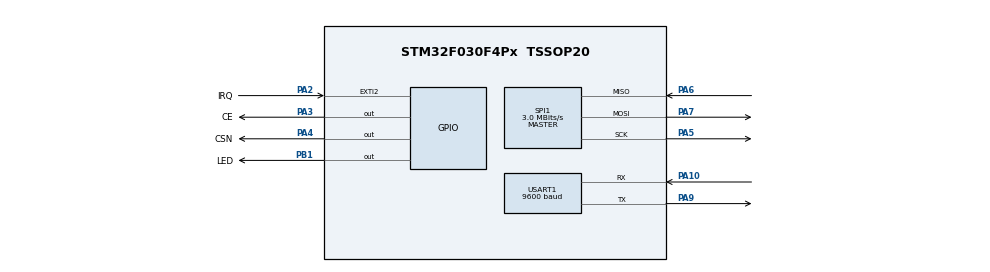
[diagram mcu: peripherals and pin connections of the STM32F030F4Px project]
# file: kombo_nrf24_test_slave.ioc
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IWDG.Prescaler=IWDG_PRESCALER_32
Mcu.Family=STM32F0
Mcu.Name=STM32F030F4Px
Mcu.Package=TSSOP20
NVIC.EXTI2_3_IRQn=true\:0\:0\:false\:false\:true\:true\:true
NVIC.TIM1_CC_IRQn=true\:0\:0\:false\:false\:true\:true\:true
PA10.Mode=Asynchronous
PA10.Signal=USART1_RX
PA13.Mode=Serial_Wire
PA13.Signal=SYS_SWDIO
PA14.Mode=Serial_Wire
PA14.Signal=SYS_SWCLK
PA2.GPIO_Label=IRQ
PA2.Signal=GPXTI2
PA3.GPIO_Label=CE
PA3.Signal=GPIO_Output
PA4.GPIO_Label=CSN
PA4.Signal=GPIO_Output
PA5.Mode=Full_Duplex_Master
PA5.Signal=SPI1_SCK
PA6.Mode=Full_Duplex_Master
PA6.Signal=SPI1_MISO
PA7.Mode=Full_Duplex_Master
PA7.Signal=SPI1_MOSI
PA9.Mode=Asynchronous
PA9.Signal=USART1_TX
PB1.GPIO_Label=LED
PB1.Signal=GPIO_Output
ProjectManager.HeapSize=0x200
ProjectManager.StackSize=0x400
ProjectManager.TargetToolchain=MDK-ARM V5.32
RCC.AHBFreq_Value=48000000
RCC.APB1Freq_Value=48000000
RCC.APB1TimFreq_Value=48000000
RCC.HCLKFreq_Value=48000000
RCC.PLLMUL=RCC_PLL_MUL12
RCC.SYSCLKFreq_VALUE=48000000
RCC.SYSCLKSource=RCC_SYSCLKSOURCE_PLLCLK
SPI1.BaudRatePrescaler=SPI_BAUDRATEPRESCALER_16
SPI1.CalculateBaudRate=3.0 MBits/s
SPI1.DataSize=SPI_DATASIZE_8BIT
SPI1.Direction=SPI_DIRECTION_2LINES
SPI1.Mode=SPI_MODE_MASTER
SPI1.VirtualType=VM_MASTER
TIM1.Period=48
USART1.BaudRate=9600
USART1.VirtualMode-Asynchronous=VM_ASYNC
VP_IWDG_VS_IWDG.Mode=IWDG_Activate
VP_TIM1_VS_ClockSourceINT.Mode=Internal
board=custom

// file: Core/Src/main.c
/* USER CODE BEGIN Header */
/*
* main.c
* тестовый пример ведомого устройства с модулем NRF24L01.
* Проект "КомБО" (Открытые системы беспроводной коммуникации)
*
* Микроконтроллер: stm32f030f4p6
*
* Подключение периферии:
* NRF24L01		STM32
* CE					PA3(9)
* CSN					PA4(10)
* SCK					PA5(11)
* MOSI				PA7(13)
* MISO				PA6(12)
* IRQ					PA2(8)
*
* USART
* TX					PA9(17)
* RX					PA10(18)
*
* LED					PB1(14)
*
*   Краткое описание работы:
* При включении питания и сбросе в порт выдаются значения регистров радиомодуля
* В процессе работы устройство ожидает запроса от ведущего и получив его отправляет
* в ответ свой адрес и значение счетчика запросов (от 0 до 255), а также сигнализирует
* об этом событии моргая светодиодом и выдавая сообщение в последовательный порт.
*
* Примечания:
* - Проект сгенерирован в STM32CubeMX, основные настройки и инициализация периферии происходит автоматически
*   по настройкам проекта
* - Для МК stm32f030f4p6 - без перемычки на BOOT (1) - старт в режиме загрузчика, можно подключиться
*   по USART и через SWD, с перемычкой - нормальная загрузка, можно подключиться только через SWD
*
* Автор: Мелехин В.Н. (MelexinVN)
*/
/* USER CODE END Header */
#include "main.h"			//подключаем основной заголовочный файл

/* USER CODE BEGIN PV */
//объявляем переменные и массивы
char str[STRING_SIZE] = {0};						//буфер для вывода в порт
uint8_t counter = 0;										//счетчик запросов 0-255
//внешние переменные и массивы
extern volatile uint8_t f_rx, f_tx;			//флаги приема и передачи
extern uint8_t tx_buf[TX_PLOAD_WIDTH];	//буфер передачи
extern uint8_t rx_buf[TX_PLOAD_WIDTH];	//буфер приема
/* USER CODE END PV */

void SystemClock_Config(void);
static void MX_GPIO_Init(void);
static void MX_IWDG_Init(void);
static void MX_SPI1_Init(void);
static void MX_USART1_UART_Init(void);
static void MX_TIM1_Init(void);

/* USER CODE BEGIN 0 */
//Процедура вывода в порт данных из регистров радиомодуля
void nrf_info_print(void)
{
	uint8_t buf[TX_ADR_WIDTH] = {0};				//буфер для чтения адресов модуля
	uint8_t dt_reg = 0;											//переменная для чтения значения регистра

	dt_reg = nrf24_read_reg(CONFIG);							//читаем регистр CONFIG
	sprintf(str, "CONFIG: 0x%02X\r\n", dt_reg);		//
	usart_print(str);															//выводим данные в порт
	dt_reg = nrf24_read_reg(EN_AA);								//читаем регистр EN_AA
	sprintf(str, "EN_AA: 0x%02X\r\n", dt_reg);		//
	usart_print(str);															//выводим данные в порт
	dt_reg = nrf24_read_reg(EN_RXADDR);						//читаем регистр EN_RXADDR
	sprintf(str, "EN_RXADDR: 0x%02X\r\n", dt_reg);//
	usart_print(str);															//выводим данные в порт
	dt_reg = nrf24_read_reg(STATUS);							//читаем регистр STATUS
	sprintf(str, "STATUS: 0x%02X\r\n", dt_reg);		//
	usart_print(str);															//выводим данные в порт
	dt_reg = nrf24_read_reg(RF_SETUP);						//читаем регистр RF_SETUP
	sprintf(str, "RF_SETUP: 0x%02X\r\n", dt_reg);	//
	usart_print(str);															//выводим данные в порт
	nrf24_read_buf(TX_ADDR,buf,3);								//читаем буфер TX_ADDR
	sprintf(str, "TX_ADDR: 0x%02X, 0x%02X, 0x%02X\r\n", buf[0], buf[1], buf[2]);
	usart_print(str);															//выводим данные в порт
	nrf24_read_buf(RX_ADDR_P1,buf,3);							//читаем буфер RX_ADDR_P1
	sprintf(str, "RX_ADDR: 0x%02X, 0x%02X, 0x%02X\r\n", buf[0], buf[1], buf[2]);
	usart_print(str);															//выводим данные в порт
}

//Процедура моргания светодиодом
void blink_led(uint8_t blink_counter)
{
	while (blink_counter)		//пока счетчик не равен 0
	{
		LED_ON();							//включаем светодиод
		LL_mDelay(50);				//ждем
		LED_OFF();						//выключаем светодиод
		LL_mDelay(50);				//ждем
		blink_counter--;			//декрементируем счетчик
	}
}

//Процедура приема радиомодуля
void nrf24l01_receive(void)
{
	if(f_rx)	//если флаг приема поднят (флаг поднимается по внешнему прерыванию от радиомодуля)
	{
		if (rx_buf[0] == OUR_ADDR)	//если первый принятый байт совпадает с адресом устройства
		{
			/*ДЕЙСТВИЯ ПО ЗАПРОСУ ВЕДУЩЕГО УСТРОЙСТВА*/

			//тут можно прописать действия ведомого устройства при получении адресованного ему запроса
			//в данном примере мы формируем и отправляем ответ на запрос, а также сигнализируем об этом событии
			//ответ содержит адрес устройства и байт данных, но может содержать другую информацию размером до 32 байт

			tx_buf[0] = OUR_ADDR;	//записываем в первый байт буфера адрес
			tx_buf[1] = counter;	//записываем во второй байт буфера значение счетчика
			nrf24_send(tx_buf);		//отправляем посылку в эфир
			blink_led(2);					//моргаем светодиодом
			sprintf(str,"respond #%d\r\n", counter);	//формируем строку для вывода в порт
			usart_print(str);			//отправляем строку в порт
			counter++;						//инкрементируем счетчика
		}
		f_rx = 0;								//опускаем флаг приема
	}
}
/* USER CODE END 0 */

int main(void)
{

  /* MCU Configuration--------------------------------------------------------*/

  /* Reset of all peripherals, Initializes the Flash interface and the Systick. */

  LL_APB1_GRP2_EnableClock(LL_APB1_GRP2_PERIPH_SYSCFG);
  LL_APB1_GRP1_EnableClock(LL_APB1_GRP1_PERIPH_PWR);

  /* System interrupt init*/
  /* SysTick_IRQn interrupt configuration */
  NVIC_SetPriority(SysTick_IRQn, 3);

  /* Configure the system clock */
  SystemClock_Config();

  /* Initialize all configured peripherals */
  MX_GPIO_Init();
  MX_IWDG_Init();
  MX_SPI1_Init();
  MX_USART1_UART_Init();
  MX_TIM1_Init();
  /* USER CODE BEGIN 2 */

	//Включаем SPI
	LL_SPI_Enable(SPI1);
	//Включаем внешнее прерывание
	LL_EXTI_EnableIT_0_31(LL_EXTI_LINE_2);
	LL_EXTI_EnableFallingTrig_0_31(LL_EXTI_LINE_2);

  usart_init(0);					//инициализируем USART
	usart_println("start");	//отправляем стартовую строку в порт
	nrf24_init();						//инициализируем радиомодуль
	nrf_info_print();

  /* USER CODE END 2 */

  /* Infinite loop */
  /* USER CODE BEGIN WHILE */
  while (1)
  {
		nrf24l01_receive();	//обрабатываем прием радиомодуля
		//проверяем, не пришел ли запрос от ведущего
    /* USER CODE END WHILE */

    /* USER CODE BEGIN 3 */
		LL_IWDG_ReloadCounter(IWDG);//сбрасываем сторожевой таймер

  }
  /* USER CODE END 3 */
}

void SystemClock_Config(void)
{
  LL_FLASH_SetLatency(LL_FLASH_LATENCY_1);
  while(LL_FLASH_GetLatency() != LL_FLASH_LATENCY_1)
  {
  }
  LL_RCC_HSI_Enable();

   /* Wait till HSI is ready */
  while(LL_RCC_HSI_IsReady() != 1)
  {

  }
  LL_RCC_HSI_SetCalibTrimming(16);
  LL_RCC_LSI_Enable();

   /* Wait till LSI is ready */
  while(LL_RCC_LSI_IsReady() != 1)
  {

  }
  LL_RCC_PLL_ConfigDomain_SYS(LL_RCC_PLLSOURCE_HSI_DIV_2, LL_RCC_PLL_MUL_12);
  LL_RCC_PLL_Enable();

   /* Wait till PLL is ready */
  while(LL_RCC_PLL_IsReady() != 1)
  {

  }
  LL_RCC_SetAHBPrescaler(LL_RCC_SYSCLK_DIV_1);
  LL_RCC_SetAPB1Prescaler(LL_RCC_APB1_DIV_1);
  LL_RCC_SetSysClkSource(LL_RCC_SYS_CLKSOURCE_PLL);

   /* Wait till System clock is ready */
  while(LL_RCC_GetSysClkSource() != LL_RCC_SYS_CLKSOURCE_STATUS_PLL)
  {

  }
  LL_Init1msTick(48000000);
  LL_SetSystemCoreClock(48000000);
  LL_RCC_SetUSARTClockSource(LL_RCC_USART1_CLKSOURCE_PCLK1);
}

static void MX_IWDG_Init(void)
{

  LL_IWDG_Enable(IWDG);
  LL_IWDG_EnableWriteAccess(IWDG);
  LL_IWDG_SetPrescaler(IWDG, LL_IWDG_PRESCALER_32);
  LL_IWDG_SetReloadCounter(IWDG, 4095);
  while (LL_IWDG_IsReady(IWDG) != 1)
  {
  }

  LL_IWDG_ReloadCounter(IWDG);

}

static void MX_SPI1_Init(void)
{

  LL_SPI_InitTypeDef SPI_InitStruct = {0};

  LL_GPIO_InitTypeDef GPIO_InitStruct = {0};

  /* Peripheral clock enable */
  LL_APB1_GRP2_EnableClock(LL_APB1_GRP2_PERIPH_SPI1);

  LL_AHB1_GRP1_EnableClock(LL_AHB1_GRP1_PERIPH_GPIOA);
  /**SPI1 GPIO Configuration
  PA5   ------> SPI1_SCK
  PA6   ------> SPI1_MISO
  PA7   ------> SPI1_MOSI
  */
  GPIO_InitStruct.Pin = LL_GPIO_PIN_5;
  GPIO_InitStruct.Mode = LL_GPIO_MODE_ALTERNATE;
  GPIO_InitStruct.Speed = LL_GPIO_SPEED_FREQ_HIGH;
  GPIO_InitStruct.OutputType = LL_GPIO_OUTPUT_PUSHPULL;
  GPIO_InitStruct.Pull = LL_GPIO_PULL_NO;
  GPIO_InitStruct.Alternate = LL_GPIO_AF_0;
  LL_GPIO_Init(GPIOA, &GPIO_InitStruct);

  GPIO_InitStruct.Pin = LL_GPIO_PIN_6;
  GPIO_InitStruct.Mode = LL_GPIO_MODE_ALTERNATE;
  GPIO_InitStruct.Speed = LL_GPIO_SPEED_FREQ_HIGH;
  GPIO_InitStruct.OutputType = LL_GPIO_OUTPUT_PUSHPULL;
  GPIO_InitStruct.Pull = LL_GPIO_PULL_NO;
  GPIO_InitStruct.Alternate = LL_GPIO_AF_0;
  LL_GPIO_Init(GPIOA, &GPIO_InitStruct);

  GPIO_InitStruct.Pin = LL_GPIO_PIN_7;
  GPIO_InitStruct.Mode = LL_GPIO_MODE_ALTERNATE;
  GPIO_InitStruct.Speed = LL_GPIO_SPEED_FREQ_HIGH;
  GPIO_InitStruct.OutputType = LL_GPIO_OUTPUT_PUSHPULL;
  GPIO_InitStruct.Pull = LL_GPIO_PULL_NO;
  GPIO_InitStruct.Alternate = LL_GPIO_AF_0;
  LL_GPIO_Init(GPIOA, &GPIO_InitStruct);

  /* SPI1 parameter configuration*/
  SPI_InitStruct.TransferDirection = LL_SPI_FULL_DUPLEX;
  SPI_InitStruct.Mode = LL_SPI_MODE_MASTER;
  SPI_InitStruct.DataWidth = LL_SPI_DATAWIDTH_8BIT;
  SPI_InitStruct.ClockPolarity = LL_SPI_POLARITY_LOW;
  SPI_InitStruct.ClockPhase = LL_SPI_PHASE_1EDGE;
  SPI_InitStruct.NSS = LL_SPI_NSS_SOFT;
  SPI_InitStruct.BaudRate = LL_SPI_BAUDRATEPRESCALER_DIV16;
  SPI_InitStruct.BitOrder = LL_SPI_MSB_FIRST;
  SPI_InitStruct.CRCCalculation = LL_SPI_CRCCALCULATION_DISABLE;
  SPI_InitStruct.CRCPoly = 7;
  LL_SPI_Init(SPI1, &SPI_InitStruct);
  LL_SPI_SetStandard(SPI1, LL_SPI_PROTOCOL_MOTOROLA);
  LL_SPI_EnableNSSPulseMgt(SPI1);

}

static void MX_TIM1_Init(void)
{

  LL_TIM_InitTypeDef TIM_InitStruct = {0};

  /* Peripheral clock enable */
  LL_APB1_GRP2_EnableClock(LL_APB1_GRP2_PERIPH_TIM1);

  /* TIM1 interrupt Init */
  NVIC_SetPriority(TIM1_CC_IRQn, 0);
  NVIC_EnableIRQ(TIM1_CC_IRQn);

  TIM_InitStruct.Prescaler = 0;
  TIM_InitStruct.CounterMode = LL_TIM_COUNTERMODE_UP;
  TIM_InitStruct.Autoreload = 48;
  TIM_InitStruct.ClockDivision = LL_TIM_CLOCKDIVISION_DIV1;
  TIM_InitStruct.RepetitionCounter = 0;
  LL_TIM_Init(TIM1, &TIM_InitStruct);
  LL_TIM_DisableARRPreload(TIM1);
  LL_TIM_SetClockSource(TIM1, LL_TIM_CLOCKSOURCE_INTERNAL);
  LL_TIM_SetTriggerOutput(TIM1, LL_TIM_TRGO_RESET);
  LL_TIM_DisableMasterSlaveMode(TIM1);

}

static void MX_USART1_UART_Init(void)
{

  LL_USART_InitTypeDef USART_InitStruct = {0};

  LL_GPIO_InitTypeDef GPIO_InitStruct = {0};

  /* Peripheral clock enable */
  LL_APB1_GRP2_EnableClock(LL_APB1_GRP2_PERIPH_USART1);

  LL_AHB1_GRP1_EnableClock(LL_AHB1_GRP1_PERIPH_GPIOA);
  /**USART1 GPIO Configuration
  PA9   ------> USART1_TX
  PA10   ------> USART1_RX
  */
  GPIO_InitStruct.Pin = LL_GPIO_PIN_9;
  GPIO_InitStruct.Mode = LL_GPIO_MODE_ALTERNATE;
  GPIO_InitStruct.Speed = LL_GPIO_SPEED_FREQ_HIGH;
  GPIO_InitStruct.OutputType = LL_GPIO_OUTPUT_PUSHPULL;
  GPIO_InitStruct.Pull = LL_GPIO_PULL_NO;
  GPIO_InitStruct.Alternate = LL_GPIO_AF_1;
  LL_GPIO_Init(GPIOA, &GPIO_InitStruct);

  GPIO_InitStruct.Pin = LL_GPIO_PIN_10;
  GPIO_InitStruct.Mode = LL_GPIO_MODE_ALTERNATE;
  GPIO_InitStruct.Speed = LL_GPIO_SPEED_FREQ_HIGH;
  GPIO_InitStruct.OutputType = LL_GPIO_OUTPUT_PUSHPULL;
  GPIO_InitStruct.Pull = LL_GPIO_PULL_NO;
  GPIO_InitStruct.Alternate = LL_GPIO_AF_1;
  LL_GPIO_Init(GPIOA, &GPIO_InitStruct);

  USART_InitStruct.BaudRate = 9600;
  USART_InitStruct.DataWidth = LL_USART_DATAWIDTH_8B;
  USART_InitStruct.StopBits = LL_USART_STOPBITS_1;
  USART_InitStruct.Parity = LL_USART_PARITY_NONE;
  USART_InitStruct.TransferDirection = LL_USART_DIRECTION_TX_RX;
  USART_InitStruct.HardwareFlowControl = LL_USART_HWCONTROL_NONE;
  USART_InitStruct.OverSampling = LL_USART_OVERSAMPLING_16;
  LL_USART_Init(USART1, &USART_InitStruct);
  LL_USART_DisableIT_CTS(USART1);
  LL_USART_ConfigAsyncMode(USART1);
  LL_USART_Enable(USART1);

}

static void MX_GPIO_Init(void)
{
  LL_EXTI_InitTypeDef EXTI_InitStruct = {0};
  LL_GPIO_InitTypeDef GPIO_InitStruct = {0};

  /* GPIO Ports Clock Enable */
  LL_AHB1_GRP1_EnableClock(LL_AHB1_GRP1_PERIPH_GPIOA);
  LL_AHB1_GRP1_EnableClock(LL_AHB1_GRP1_PERIPH_GPIOB);

  /**/
  LL_GPIO_ResetOutputPin(CE_GPIO_Port, CE_Pin);

  /**/
  LL_GPIO_ResetOutputPin(CSN_GPIO_Port, CSN_Pin);

  /**/
  LL_GPIO_ResetOutputPin(LED_GPIO_Port, LED_Pin);

  /**/
  LL_SYSCFG_SetEXTISource(LL_SYSCFG_EXTI_PORTA, LL_SYSCFG_EXTI_LINE2);

  /**/
  LL_GPIO_SetPinPull(IRQ_GPIO_Port, IRQ_Pin, LL_GPIO_PULL_NO);

  /**/
  LL_GPIO_SetPinMode(IRQ_GPIO_Port, IRQ_Pin, LL_GPIO_MODE_INPUT);

  /**/
  EXTI_InitStruct.Line_0_31 = LL_EXTI_LINE_2;
  EXTI_InitStruct.LineCommand = ENABLE;
  EXTI_InitStruct.Mode = LL_EXTI_MODE_IT;
  EXTI_InitStruct.Trigger = LL_EXTI_TRIGGER_RISING;
  LL_EXTI_Init(&EXTI_InitStruct);

  /**/
  GPIO_InitStruct.Pin = CE_Pin;
  GPIO_InitStruct.Mode = LL_GPIO_MODE_OUTPUT;
  GPIO_InitStruct.Speed = LL_GPIO_SPEED_FREQ_LOW;
  GPIO_InitStruct.OutputType = LL_GPIO_OUTPUT_PUSHPULL;
  GPIO_InitStruct.Pull = LL_GPIO_PULL_NO;
  LL_GPIO_Init(CE_GPIO_Port, &GPIO_InitStruct);

  /**/
  GPIO_InitStruct.Pin = CSN_Pin;
  GPIO_InitStruct.Mode = LL_GPIO_MODE_OUTPUT;
  GPIO_InitStruct.Speed = LL_GPIO_SPEED_FREQ_LOW;
  GPIO_InitStruct.OutputType = LL_GPIO_OUTPUT_PUSHPULL;
  GPIO_InitStruct.Pull = LL_GPIO_PULL_NO;
  LL_GPIO_Init(CSN_GPIO_Port, &GPIO_InitStruct);

  /**/
  GPIO_InitStruct.Pin = LED_Pin;
  GPIO_InitStruct.Mode = LL_GPIO_MODE_OUTPUT;
  GPIO_InitStruct.Speed = LL_GPIO_SPEED_FREQ_LOW;
  GPIO_InitStruct.OutputType = LL_GPIO_OUTPUT_PUSHPULL;
  GPIO_InitStruct.Pull = LL_GPIO_PULL_NO;
  LL_GPIO_Init(LED_GPIO_Port, &GPIO_InitStruct);

  /* EXTI interrupt init*/
  NVIC_SetPriority(EXTI2_3_IRQn, 0);
  NVIC_EnableIRQ(EXTI2_3_IRQn);

}

/* USER CODE BEGIN 4 */
void TIM1_Callback(void)
{
	if(LL_TIM_IsActiveFlag_UPDATE(TIM1))			//если флаг прерывания таймера поднят
	{
		LL_TIM_ClearFlag_UPDATE(TIM1);					//опускаем флаг прерывания
	}
}

/* USER CODE END 4 */

void Error_Handler(void)
{
  __disable_irq();
  while (1)
  {
  }
}
